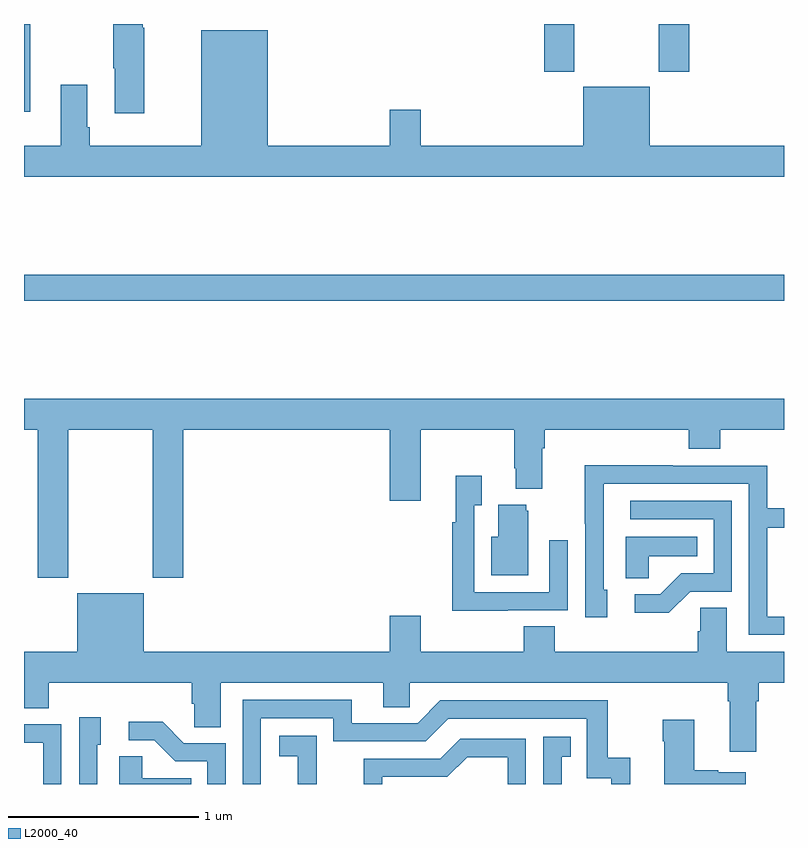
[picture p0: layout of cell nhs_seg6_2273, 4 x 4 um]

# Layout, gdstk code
import gdstk
lib = gdstk.Library(unit=1e-6, precision=1e-09)
def R(c, l, rs):  # rectangles x0, y0, x1, y1
    for r in rs: c.add(gdstk.rectangle(r[:2], r[2:], *l))
def P(c, l, *ps):  # polygons
    for p in ps: c.add(gdstk.Polygon(p, *l))
L2000_40 = (2000, 40)

nhs_seg6_2273 = lib.new_cell('nhs_seg6_2273')
R(nhs_seg6_2273, L2000_40, [(247,920.044,251,920.18), (247,921.039,247.033,921.5), (249.737,921.249,249.897,921.5), (250.342,921.249,250.502,921.5)])
P(nhs_seg6_2273, L2000_40, [(247.632,921.479),(247.624,921.479),(247.624,921.5),(247.471,921.5),(247.471,921.268),(247.478,921.268),(247.478,921.03),(247.632,921.03)],
  [(251,920.86),(250.294,920.86),(250.294,921.169),(249.944,921.169),(249.944,920.86),(249.088,920.86),(249.088,921.049),(248.924,921.049),(248.924,920.86),(248.284,920.86),(248.284,921.466),(247.934,921.466),(247.934,920.86),(247.346,920.86),(247.346,920.956),(247.333,920.956),(247.333,921.181),(247.193,921.181),(247.193,920.86),(247,920.86),(247,920.696),(251,920.696)],
  [(247.233,919.364),(247.678,919.364),(247.678,918.585),(247.838,918.585),(247.838,919.364),(248.924,919.364),(248.924,918.99),(249.088,918.99),(249.088,919.364),(249.58,919.364),(249.58,919.162),(249.587,919.162),(249.587,919.055),(249.727,919.055),(249.727,919.268),(249.74,919.268),(249.74,919.364),(250.499,919.364),(250.499,919.265),(250.664,919.265),(250.664,919.364),(251,919.364),(251,919.528),(247,919.528),(247,919.364),(247.073,919.364),(247.073,918.585),(247.233,918.585)],
  [(251,918.381),(250.911,918.381),(250.911,918.85),(251,918.85),(251,918.951),(250.911,918.951),(250.911,919.176),(250.415,919.176),(250.415,919.178),(249.952,919.178),(249.952,918.871),(249.954,918.871),(249.954,918.378),(250.069,918.378),(250.069,918.522),(250.05,918.522),(250.05,919.08),(250.815,919.08),(250.815,918.285),(251,918.285)],
  [(249.545,918.414),(249.861,918.414),(249.861,918.784),(249.765,918.784),(249.765,918.51),(249.369,918.51),(249.369,918.967),(249.409,918.967),(249.409,919.123),(249.272,919.123),(249.272,918.878),(249.253,918.878),(249.253,918.413),(249.545,918.413)],
  [(250.506,918.513),(250.725,918.513),(250.725,918.99),(250.191,918.99),(250.191,918.894),(250.629,918.894),(250.629,918.609),(250.46,918.609),(250.349,918.498),(250.215,918.498),(250.215,918.401),(250.393,918.401)],
  [(249.655,918.939),(249.644,918.939),(249.644,918.97),(249.497,918.97),(249.497,918.802),(249.458,918.802),(249.458,918.599),(249.655,918.599)],
  [(250.287,918.698),(250.544,918.698),(250.544,918.802),(250.166,918.802),(250.166,918.583),(250.287,918.583)],
  [(250.855,917.936),(250.868,917.936),(250.868,918.032),(251,918.032),(251,918.196),(250.699,918.196),(250.699,918.428),(250.56,918.428),(250.56,918.305),(250.547,918.305),(250.547,918.196),(249.794,918.196),(249.794,918.329),(249.629,918.329),(249.629,918.196),(249.088,918.196),(249.088,918.385),(248.924,918.385),(248.924,918.196),(247.63,918.196),(247.63,918.505),(247.28,918.505),(247.28,918.196),(247,918.196),(247,917.899),(247.13,917.899),(247.13,918.032),(247.883,918.032),(247.883,917.923),(247.896,917.923),(247.896,917.8),(248.035,917.8),(248.035,918.032),(248.891,918.032),(248.891,917.905),(249.03,917.905),(249.03,918.032),(250.703,918.032),(250.703,917.936),(250.715,917.936),(250.715,917.67),(250.855,917.67)],
  [(248.247,917.847),(248.628,917.847),(248.628,917.724),(249.114,917.724),(249.234,917.844),(249.963,917.844),(249.963,917.529),(250.092,917.529),(250.092,917.5),(250.19,917.5),(250.19,917.638),(250.072,917.638),(250.072,917.94),(249.192,917.94),(249.072,917.82),(248.725,917.82),(248.725,917.943),(248.151,917.943),(248.151,917.5),(248.247,917.5)],
  [(247.386,917.706),(247.405,917.706),(247.405,917.851),(247.29,917.851),(247.29,917.5),(247.386,917.5)],
  [(250.798,917.563),(250.655,917.563),(250.655,917.573),(250.528,917.573),(250.528,917.839),(250.363,917.839),(250.363,917.726),(250.37,917.726),(250.37,917.5),(250.798,917.5)],
  [(248.061,917.715),(247.842,917.715),(247.729,917.828),(247.551,917.828),(247.551,917.73),(247.685,917.73),(247.796,917.619),(247.965,917.619),(247.965,917.5),(248.061,917.5)],
  [(247.197,917.814),(247,917.814),(247,917.718),(247.101,917.718),(247.101,917.5),(247.197,917.5)],
  [(248.54,917.549),(248.541,917.549),(248.541,917.755),(248.343,917.755),(248.343,917.645),(248.441,917.645),(248.441,917.5),(248.54,917.5)],
  [(249.829,917.643),(249.878,917.643),(249.878,917.749),(249.732,917.749),(249.732,917.5),(249.829,917.5)],
  [(248.886,917.538),(249.228,917.538),(249.332,917.642),(249.546,917.642),(249.546,917.5),(249.642,917.5),(249.642,917.739),(249.296,917.739),(249.191,917.634),(248.788,917.634),(248.788,917.5),(248.886,917.5)],
  [(247.88,917.53),(247.623,917.53),(247.623,917.645),(247.502,917.645),(247.502,917.5),(247.88,917.5)])

lib.write_gds('nhs_seg6_2273.gds')
